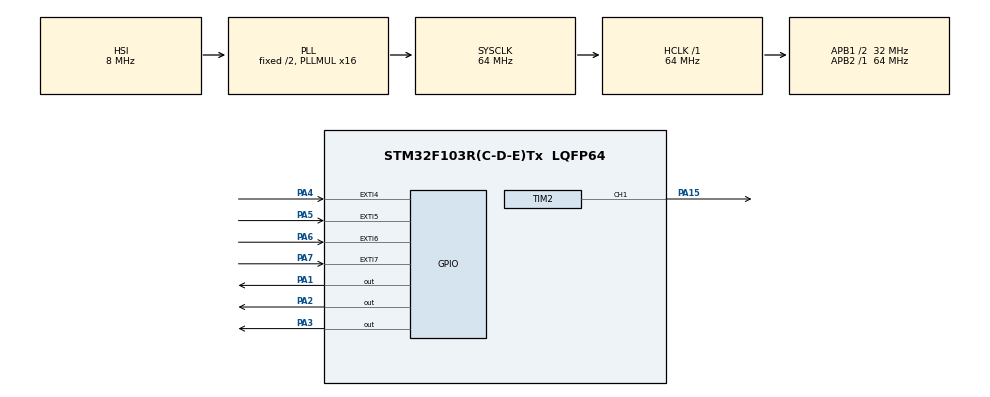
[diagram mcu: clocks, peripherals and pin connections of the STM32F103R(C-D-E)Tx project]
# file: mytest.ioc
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Mcu.Family=STM32F1
Mcu.Name=STM32F103R(C-D-E)Tx
Mcu.Package=LQFP64
NVIC.EXTI4_IRQn=true\:0\:0\:false\:false\:true\:true
NVIC.EXTI9_5_IRQn=true\:0\:0\:false\:false\:true\:true
NVIC.PriorityGroup=NVIC_PRIORITYGROUP_4
PA1.Signal=GPIO_Output
PA13.Mode=Serial_Wire
PA13.Signal=SYS_JTMS-SWDIO
PA14.Mode=Serial_Wire
PA14.Signal=SYS_JTCK-SWCLK
PA15.Signal=S_TIM2_CH1_ETR
PA2.Signal=GPIO_Output
PA3.Signal=GPIO_Output
PA4.Signal=GPXTI4
PA5.Signal=GPXTI5
PA6.Signal=GPXTI6
PA7.Signal=GPXTI7
ProjectManager.HeapSize=0x200
ProjectManager.StackSize=0x400
ProjectManager.TargetToolchain=MDK-ARM V5
RCC.AHBFreq_Value=64000000
RCC.APB1CLKDivider=RCC_HCLK_DIV2
RCC.APB1Freq_Value=32000000
RCC.APB1TimFreq_Value=64000000
RCC.APB2Freq_Value=64000000
RCC.APB2TimFreq_Value=64000000
RCC.HCLKFreq_Value=64000000
RCC.PLLMUL=RCC_PLL_MUL16
RCC.SYSCLKFreq_VALUE=64000000
RCC.SYSCLKSource=RCC_SYSCLKSOURCE_PLLCLK
RCC.USBFreq_Value=64000000
SH.S_TIM2_CH1_ETR.0=TIM2_CH1,PWM Generation1 CH1
TIM2.Channel-PWM\ Generation1\ CH1=TIM_CHANNEL_1
TIM2.Prescaler=6400
VP_TIM2_VS_ClockSourceINT.Mode=Internal
board=custom

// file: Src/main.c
/**
  ******************************************************************************
  * @file           : main.c
  * @brief          : Main program body
  ******************************************************************************
  ** This notice applies to any and all portions of this file
  * that are not between comment pairs USER CODE BEGIN and
  * USER CODE END. Other portions of this file, whether
  * inserted by the user or by software development tools
  * are owned by their respective copyright owners.
  *
  * COPYRIGHT(c) 2019 STMicroelectronics
  *
  * Redistribution and use in source and binary forms, with or without modification,
  * are permitted provided that the following conditions are met:
  *   1. Redistributions of source code must retain the above copyright notice,
  *      this list of conditions and the following disclaimer.
  *   2. Redistributions in binary form must reproduce the above copyright notice,
  *      this list of conditions and the following disclaimer in the documentation
  *      and/or other materials provided with the distribution.
  *   3. Neither the name of STMicroelectronics nor the names of its contributors
  *      may be used to endorse or promote products derived from this software
  *      without specific prior written permission.
  *
  * THIS SOFTWARE IS PROVIDED BY THE COPYRIGHT HOLDERS AND CONTRIBUTORS "AS IS"
  * AND ANY EXPRESS OR IMPLIED WARRANTIES, INCLUDING, BUT NOT LIMITED TO, THE
  * IMPLIED WARRANTIES OF MERCHANTABILITY AND FITNESS FOR A PARTICULAR PURPOSE ARE
  * DISCLAIMED. IN NO EVENT SHALL THE COPYRIGHT HOLDER OR CONTRIBUTORS BE LIABLE
  * FOR ANY DIRECT, INDIRECT, INCIDENTAL, SPECIAL, EXEMPLARY, OR CONSEQUENTIAL
  * DAMAGES (INCLUDING, BUT NOT LIMITED TO, PROCUREMENT OF SUBSTITUTE GOODS OR
  * SERVICES; LOSS OF USE, DATA, OR PROFITS; OR BUSINESS INTERRUPTION) HOWEVER
  * CAUSED AND ON ANY THEORY OF LIABILITY, WHETHER IN CONTRACT, STRICT LIABILITY,
  * OR TORT (INCLUDING NEGLIGENCE OR OTHERWISE) ARISING IN ANY WAY OUT OF THE USE
  * OF THIS SOFTWARE, EVEN IF ADVISED OF THE POSSIBILITY OF SUCH DAMAGE.
  *
  ******************************************************************************
  */
#include "main.h"
#include "stm32f1xx_hal.h"

/* USER CODE BEGIN Includes */
#include "keyboard.h"
/* USER CODE END Includes */

TIM_HandleTypeDef htim2;

/* USER CODE BEGIN PV */
/* Private variables ---------------------------------------------------------*/

/* USER CODE END PV */

void SystemClock_Config(void);
static void MX_GPIO_Init(void);
static void MX_TIM2_Init(void);
void HAL_TIM_MspPostInit(TIM_HandleTypeDef *htim);

/* USER CODE BEGIN PFP */
/* Private function prototypes -----------------------------------------------*/

/* USER CODE END PFP */

/* USER CODE BEGIN 0 */
int period;
int cmp;
void HAL_GPIO_EXTI_Callback(uint16_t GPIO_Pin)
{
	char keyvalue;
	keyvalue=Get_KeyNum(GPIO_Pin);
	if(keyvalue=='1')
	{
		period=40;
		cmp=period/2;
		__HAL_TIM_SET_COMPARE(&htim2,TIM_CHANNEL_1,cmp);
	__HAL_TIM_SET_AUTORELOAD(&htim2,period);
	}else if(keyvalue=='2')
	{
		period=34;
		cmp=period/2;
		__HAL_TIM_SET_COMPARE(&htim2,TIM_CHANNEL_1,cmp);
	__HAL_TIM_SET_AUTORELOAD(&htim2,period);
	}else if(keyvalue=='3')
	{
		period=30;
		cmp=period/2;
		__HAL_TIM_SET_COMPARE(&htim2,TIM_CHANNEL_1,cmp);
	__HAL_TIM_SET_AUTORELOAD(&htim2,period);
	}else if(keyvalue=='4')
	{
		period=29;
		cmp=period/2;
		__HAL_TIM_SET_COMPARE(&htim2,TIM_CHANNEL_1,cmp);
	__HAL_TIM_SET_AUTORELOAD(&htim2,period);
	}else if(keyvalue=='5')
	{
		period=26;
		cmp=period/2;
		__HAL_TIM_SET_COMPARE(&htim2,TIM_CHANNEL_1,cmp);
	__HAL_TIM_SET_AUTORELOAD(&htim2,period);
	}else if(keyvalue=='6')
	{
		period=23;
		cmp=period/2;
		__HAL_TIM_SET_COMPARE(&htim2,TIM_CHANNEL_1,cmp);
	__HAL_TIM_SET_AUTORELOAD(&htim2,period);
	}else if(keyvalue=='7')
	{
		period=20;
		cmp=period/2;
		__HAL_TIM_SET_COMPARE(&htim2,TIM_CHANNEL_1,cmp);
	__HAL_TIM_SET_AUTORELOAD(&htim2,period);
	}
}
/* USER CODE END 0 */

int main(void)
{

  /* MCU Configuration----------------------------------------------------------*/

  /* Reset of all peripherals, Initializes the Flash interface and the Systick. */
  HAL_Init();

  /* Configure the system clock */
  SystemClock_Config();

  /* Initialize all configured peripherals */
  MX_GPIO_Init();
  MX_TIM2_Init();
  /* USER CODE BEGIN 2 */
	Key_Bord_Init();
  HAL_TIM_PWM_Start(&htim2,TIM_CHANNEL_1);
  /* USER CODE END 2 */

  /* Infinite loop */
  while (1)
  {

  }

}

void SystemClock_Config(void)
{

  RCC_OscInitTypeDef RCC_OscInitStruct;
  RCC_ClkInitTypeDef RCC_ClkInitStruct;

    /**Initializes the CPU, AHB and APB busses clocks
    */
  RCC_OscInitStruct.OscillatorType = RCC_OSCILLATORTYPE_HSI;
  RCC_OscInitStruct.HSIState = RCC_HSI_ON;
  RCC_OscInitStruct.HSICalibrationValue = 16;
  RCC_OscInitStruct.PLL.PLLState = RCC_PLL_ON;
  RCC_OscInitStruct.PLL.PLLSource = RCC_PLLSOURCE_HSI_DIV2;
  RCC_OscInitStruct.PLL.PLLMUL = RCC_PLL_MUL16;
  if (HAL_RCC_OscConfig(&RCC_OscInitStruct) != HAL_OK)
  {
    _Error_Handler(__FILE__, __LINE__);
  }

    /**Initializes the CPU, AHB and APB busses clocks
    */
  RCC_ClkInitStruct.ClockType = RCC_CLOCKTYPE_HCLK|RCC_CLOCKTYPE_SYSCLK
                              |RCC_CLOCKTYPE_PCLK1|RCC_CLOCKTYPE_PCLK2;
  RCC_ClkInitStruct.SYSCLKSource = RCC_SYSCLKSOURCE_PLLCLK;
  RCC_ClkInitStruct.AHBCLKDivider = RCC_SYSCLK_DIV1;
  RCC_ClkInitStruct.APB1CLKDivider = RCC_HCLK_DIV2;
  RCC_ClkInitStruct.APB2CLKDivider = RCC_HCLK_DIV1;

  if (HAL_RCC_ClockConfig(&RCC_ClkInitStruct, FLASH_LATENCY_2) != HAL_OK)
  {
    _Error_Handler(__FILE__, __LINE__);
  }

    /**Configure the Systick interrupt time
    */
  HAL_SYSTICK_Config(HAL_RCC_GetHCLKFreq()/1000);

    /**Configure the Systick
    */
  HAL_SYSTICK_CLKSourceConfig(SYSTICK_CLKSOURCE_HCLK);

  /* SysTick_IRQn interrupt configuration */
  HAL_NVIC_SetPriority(SysTick_IRQn, 0, 0);
}

/* TIM2 init function */
static void MX_TIM2_Init(void)
{

  TIM_ClockConfigTypeDef sClockSourceConfig;
  TIM_MasterConfigTypeDef sMasterConfig;
  TIM_OC_InitTypeDef sConfigOC;

  htim2.Instance = TIM2;
  htim2.Init.Prescaler = 6400;
  htim2.Init.CounterMode = TIM_COUNTERMODE_UP;
  htim2.Init.Period = 0;
  htim2.Init.ClockDivision = TIM_CLOCKDIVISION_DIV1;
  htim2.Init.AutoReloadPreload = TIM_AUTORELOAD_PRELOAD_DISABLE;
  if (HAL_TIM_Base_Init(&htim2) != HAL_OK)
  {
    _Error_Handler(__FILE__, __LINE__);
  }

  sClockSourceConfig.ClockSource = TIM_CLOCKSOURCE_INTERNAL;
  if (HAL_TIM_ConfigClockSource(&htim2, &sClockSourceConfig) != HAL_OK)
  {
    _Error_Handler(__FILE__, __LINE__);
  }

  if (HAL_TIM_PWM_Init(&htim2) != HAL_OK)
  {
    _Error_Handler(__FILE__, __LINE__);
  }

  sMasterConfig.MasterOutputTrigger = TIM_TRGO_RESET;
  sMasterConfig.MasterSlaveMode = TIM_MASTERSLAVEMODE_DISABLE;
  if (HAL_TIMEx_MasterConfigSynchronization(&htim2, &sMasterConfig) != HAL_OK)
  {
    _Error_Handler(__FILE__, __LINE__);
  }

  sConfigOC.OCMode = TIM_OCMODE_PWM1;
  sConfigOC.Pulse = 0;
  sConfigOC.OCPolarity = TIM_OCPOLARITY_HIGH;
  sConfigOC.OCFastMode = TIM_OCFAST_DISABLE;
  if (HAL_TIM_PWM_ConfigChannel(&htim2, &sConfigOC, TIM_CHANNEL_1) != HAL_OK)
  {
    _Error_Handler(__FILE__, __LINE__);
  }

  HAL_TIM_MspPostInit(&htim2);

}

/** Configure pins as
        * Analog
        * Input
        * Output
        * EVENT_OUT
        * EXTI
*/
static void MX_GPIO_Init(void)
{

  GPIO_InitTypeDef GPIO_InitStruct;

  /* GPIO Ports Clock Enable */
  __HAL_RCC_GPIOA_CLK_ENABLE();

  /*Configure GPIO pin Output Level */
  HAL_GPIO_WritePin(GPIOA, GPIO_PIN_1|GPIO_PIN_2|GPIO_PIN_3, GPIO_PIN_RESET);

  /*Configure GPIO pins : PA1 PA2 PA3 */
  GPIO_InitStruct.Pin = GPIO_PIN_1|GPIO_PIN_2|GPIO_PIN_3;
  GPIO_InitStruct.Mode = GPIO_MODE_OUTPUT_PP;
  GPIO_InitStruct.Pull = GPIO_NOPULL;
  GPIO_InitStruct.Speed = GPIO_SPEED_FREQ_LOW;
  HAL_GPIO_Init(GPIOA, &GPIO_InitStruct);

  /*Configure GPIO pins : PA4 PA5 PA6 PA7 */
  GPIO_InitStruct.Pin = GPIO_PIN_4|GPIO_PIN_5|GPIO_PIN_6|GPIO_PIN_7;
  GPIO_InitStruct.Mode = GPIO_MODE_IT_RISING;
  GPIO_InitStruct.Pull = GPIO_NOPULL;
  HAL_GPIO_Init(GPIOA, &GPIO_InitStruct);

  /* EXTI interrupt init*/
  HAL_NVIC_SetPriority(EXTI4_IRQn, 0, 0);
  HAL_NVIC_EnableIRQ(EXTI4_IRQn);

  HAL_NVIC_SetPriority(EXTI9_5_IRQn, 0, 0);
  HAL_NVIC_EnableIRQ(EXTI9_5_IRQn);

}

void _Error_Handler(char *file, int line)
{
  while(1)
  {
  }
}

/************************ (C) COPYRIGHT STMicroelectronics *****END OF FILE****/
